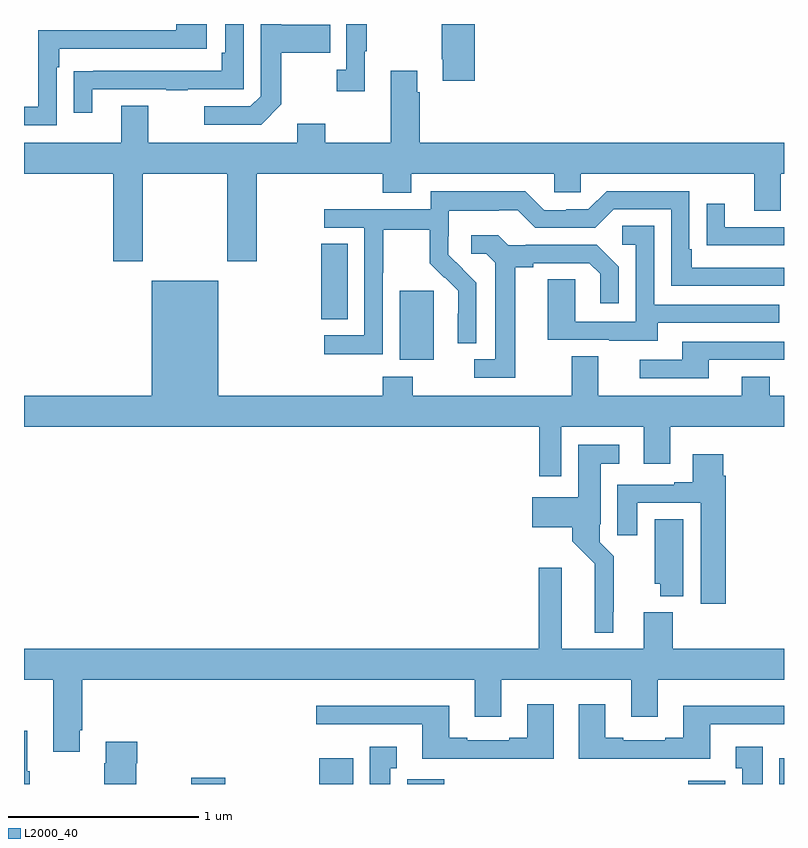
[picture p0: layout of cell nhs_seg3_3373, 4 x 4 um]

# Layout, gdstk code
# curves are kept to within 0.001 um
import gdstk
lib = gdstk.Library(unit=1e-6, precision=1e-09)
def R(c, l, rs):  # rectangles x0, y0, x1, y1
    for r in rs: c.add(gdstk.rectangle(r[:2], r[2:], *l))
def P(c, l, *ps):  # polygons
    for p in ps: c.add(gdstk.Polygon(p, *l))
L2000_40 = (2000, 40)

nhs_seg3_3373 = lib.new_cell('nhs_seg3_3373')
R(nhs_seg3_3373, L2000_40, [(287.881,668.4,288.059,668.434), (288.554,668.4,288.733,668.536), (289.017,668.4,289.213,668.424), (290.495,668.4,290.692,668.416), (290.975,668.4,291,668.536), (288.977,670.634,289.156,670.995), (288.565,670.846,288.703,671.243)])
P(nhs_seg3_3373, L2000_40, [(288.793,672.257),(288.805,672.257),(288.805,672.4),(288.696,672.4),(288.696,672.158),(288.645,672.158),(288.645,672.045),(288.793,672.045)],
  [(287.172,672.173),(287.185,672.173),(287.185,672.27),(287.962,672.27),(287.962,672.4),(287.801,672.4),(287.801,672.366),(287.076,672.366),(287.076,671.964),(287,671.964),(287,671.868),(287.172,671.868)],
  [(287.359,672.057),(287.749,672.057),(287.749,672.052),(287.861,672.052),(287.861,672.057),(288.156,672.057),(288.156,672.4),(288.06,672.4),(288.06,672.25),(288.04,672.25),(288.04,672.153),(287.365,672.153),(287.365,672.152),(287.263,672.152),(287.263,671.934),(287.359,671.934)],
  [(288.355,671.977),(288.355,672.25),(288.611,672.25),(288.611,672.397),(288.355,672.397),(288.355,672.4),(288.246,672.4),(288.246,672.021),(288.192,671.967),(287.949,671.967),(287.949,671.871),(288.249,671.871)],
  [(289.373,672.4),(289.198,672.4),(289.198,672.214),(289.205,672.214),(289.205,672.102),(289.373,672.102)],
  [(287.625,671.612),(288.07,671.612),(288.07,671.151),(288.225,671.151),(288.225,671.612),(288.887,671.612),(288.887,671.513),(289.039,671.513),(289.039,671.612),(289.791,671.612),(289.791,671.514),(289.929,671.514),(289.929,671.612),(290.843,671.612),(290.843,671.418),(290.983,671.418),(290.983,671.612),(291,671.612),(291,671.776),(289.082,671.776),(289.082,672.041),(289.069,672.041),(289.069,672.154),(288.929,672.154),(288.929,671.776),(288.585,671.776),(288.585,671.875),(288.437,671.875),(288.437,671.776),(287.653,671.776),(287.653,671.971),(287.513,671.971),(287.513,671.776),(287,671.776),(287,671.612),(287.47,671.612),(287.47,671.151),(287.625,671.151)],
  [(288.888,671.092),(288.891,671.092),(288.891,671.316),(289.135,671.316),(289.135,671.141),(289.212,671.064),(289.215,671.067),(289.286,670.997),(289.286,670.874),(289.284,670.874),(289.284,670.72),(289.38,670.72),(289.38,671.038),(289.234,671.186),(289.234,671.283),(289.236,671.283),(289.236,671.417),(289.499,671.417),(289.499,671.421),(289.599,671.421),(289.692,671.328),(290.007,671.328),(290.103,671.424),(290.406,671.424),(290.406,671.022),(291,671.022),(291,671.118),(290.515,671.118),(290.515,671.215),(290.502,671.215),(290.502,671.52),(290.067,671.52),(289.971,671.424),(289.853,671.424),(289.853,671.421),(289.737,671.421),(289.637,671.521),(289.14,671.521),(289.14,671.424),(288.579,671.424),(288.579,671.328),(288.792,671.328),(288.792,670.761),(288.579,670.761),(288.579,670.663),(288.888,670.663)],
  [(291,671.331),(290.689,671.331),(290.689,671.455),(290.593,671.455),(290.593,671.236),(290.695,671.236),(290.695,671.235),(291,671.235)],
  [(290.335,670.827),(290.975,670.827),(290.975,670.923),(290.316,670.923),(290.316,671.339),(290.148,671.339),(290.148,671.238),(290.22,671.238),(290.22,670.833),(289.902,670.833),(289.902,671.057),(289.757,671.057),(289.757,670.737),(290.081,670.737),(290.081,670.733),(290.335,670.733)],
  [(289.585,671.12),(289.681,671.12),(289.681,671.142),(289.976,671.142),(290.033,671.085),(290.033,670.929),(290.13,670.929),(290.13,671.122),(290.014,671.238),(289.642,671.238),(289.642,671.235),(289.548,671.235),(289.496,671.287),(289.353,671.287),(289.353,671.19),(289.434,671.19),(289.481,671.143),(289.481,670.635),(289.371,670.635),(289.371,670.539),(289.585,670.539)],
  [(289.827,670.28),(290.261,670.28),(290.261,670.086),(290.401,670.086),(290.401,670.28),(291,670.28),(291,670.444),(290.925,670.444),(290.925,670.543),(290.777,670.543),(290.777,670.444),(290.023,670.444),(290.023,670.652),(289.883,670.652),(289.883,670.444),(289.047,670.444),(289.047,670.543),(288.887,670.543),(288.887,670.444),(288.022,670.444),(288.022,671.05),(287.672,671.05),(287.672,670.444),(287,670.444),(287,670.28),(289.711,670.28),(289.711,670.02),(289.827,670.02)],
  [(290.605,670.632),(291,670.632),(291,670.728),(290.465,670.728),(290.465,670.632),(290.241,670.632),(290.241,670.536),(290.605,670.536)],
  [(290.101,669.307),(290.105,669.307),(290.105,669.598),(290.031,669.672),(290.031,669.766),(290.035,669.766),(290.035,670.085),(290.134,670.085),(290.134,670.186),(289.916,670.186),(289.916,669.91),(289.674,669.91),(289.674,669.752),(289.886,669.752),(289.886,669.678),(290.004,669.56),(290.003,669.197),(290.101,669.197)],
  [(290.693,670.022),(290.68,670.022),(290.68,670.135),(290.519,670.135),(290.519,669.988),(290.423,669.988),(290.423,669.975),(290.123,669.975),(290.123,669.708),(290.227,669.708),(290.227,669.879),(290.561,669.879),(290.561,669.348),(290.693,669.348)],
  [(290.47,669.794),(290.321,669.794),(290.321,669.453),(290.348,669.453),(290.348,669.389),(290.47,669.389)],
  [(287.293,668.683),(287.306,668.683),(287.306,668.948),(289.373,668.948),(289.373,668.754),(289.513,668.754),(289.513,668.948),(290.195,668.948),(290.195,668.754),(290.335,668.754),(290.335,668.948),(291,668.948),(291,669.112),(290.414,669.112),(290.414,669.304),(290.261,669.304),(290.261,669.112),(289.831,669.112),(289.831,669.538),(289.709,669.538),(289.709,669.112),(287,669.112),(287,668.948),(287.153,668.948),(287.153,668.571),(287.293,668.571)],
  [(289.789,668.821),(289.649,668.821),(289.649,668.644),(289.553,668.644),(289.553,668.631),(289.333,668.631),(289.333,668.644),(289.237,668.644),(289.237,668.812),(288.537,668.812),(288.537,668.715),(289.097,668.715),(289.097,668.534),(289.789,668.534)],
  [(290.611,668.715),(291,668.715),(291,668.812),(290.471,668.812),(290.471,668.644),(290.375,668.644),(290.375,668.631),(290.155,668.631),(290.155,668.644),(290.059,668.644),(290.059,668.821),(289.919,668.821),(289.919,668.534),(290.611,668.534)],
  [(287.029,668.467),(287.017,668.467),(287.017,668.68),(287,668.68),(287,668.4),(287.029,668.4)],
  [(287.592,668.51),(287.597,668.51),(287.597,668.623),(287.429,668.623),(287.429,668.51),(287.422,668.51),(287.422,668.4),(287.592,668.4)],
  [(288.928,668.483),(288.961,668.483),(288.961,668.596),(288.821,668.596),(288.821,668.4),(288.928,668.4)],
  [(290.887,668.596),(290.747,668.596),(290.747,668.483),(290.78,668.483),(290.78,668.4),(290.887,668.4)])

lib.write_gds('nhs_seg3_3373.gds')
